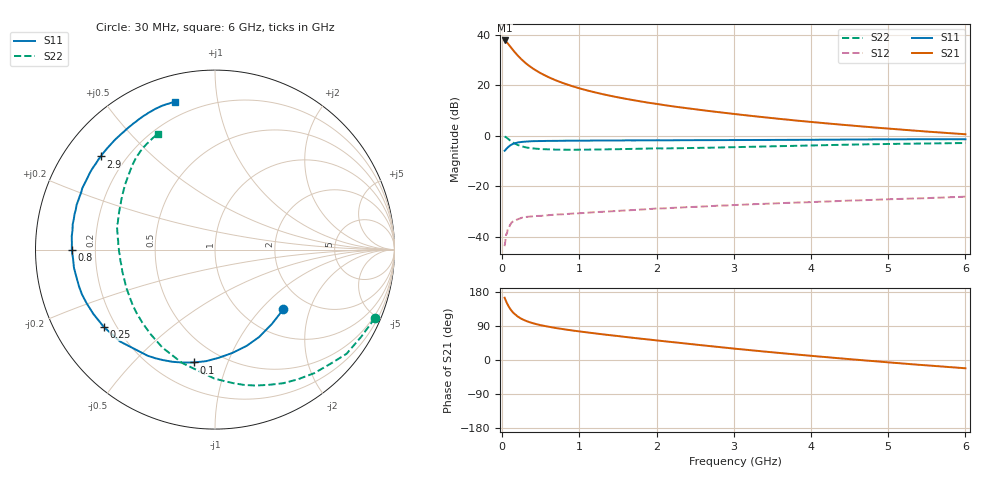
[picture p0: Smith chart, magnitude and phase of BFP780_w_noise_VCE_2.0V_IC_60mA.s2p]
! Infineon Technologies  Discrete & RF Semiconductors
! BFP780
! VCE =  2.0 V,  IC =  60 mA
! Common Emitter S-Parameters:  Jul 2015
# GHz  S  MA  R  50
!  f  S11  S21  S12  S22
! GHz  MAG  ANG  MAG  ANG  MAG  ANG  MAG  ANG
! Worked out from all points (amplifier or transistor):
!   75 points, 30 MHz to 6 GHz, reference 50 ohm
!   highest |S21| = 37.8 dB at 30 MHz (marker M1)
!   |S21| within 3 dB of that: start of sweep to 118.1 MHz
!   unconditionally stable (mu >= 1): 2.012 GHz to end of sweep
!   at 150 MHz: K = 0.13, MSG = 33.6 dB, |S12| = -33.7 dB
!   at 2.3 GHz: K = 1.09, MAG = 18.1 dB, |S12| = -28.5 dB
!   at 6 GHz: K = 1.38, MAG = 8.7 dB, |S12| = -24.1 dB
!   lowest NFmin = 1.52 dB at 450 MHz
!   S11 on the Smith chart (normalised r, x): 30 MHz: 1.51, -1.35; 100 MHz: 0.36, -0.76; 250 MHz: 0.15, -0.31; 800 MHz: 0.11, -0.00; 2.9 GHz: 0.11, +0.35; 6 GHz: 0.13, +0.76
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0.03  0.5056 -41.1  77.36 164.3  0.0065 73.0  0.9692 -23.2
0.05  0.5457 -63.3  73.05 154.4  0.0113 57.7  0.9349 -38.4
0.06  0.5649 -71.9  70.53 150.2  0.0114 66.1  0.9051 -44.6
0.08  0.6033 -88.1  65.02 142.3  0.0151 53.7  0.8581 -57.3
0.1  0.6397 -100.6  59.44 135.7  0.0172 49.6  0.8114 -68.2
0.12  0.6685 -110.8  54.3 130.0  0.0192 46.4  0.7706 -78.0
0.15  0.7003 -122.4  47.62 123.2  0.0207 39.4  0.7186 -90.3
0.2  0.7361 -135.9  38.84 114.7  0.0221 33.1  0.6572 -106.3
0.25  0.7546 -145.2  32.54 108.5  0.0237 29.2  0.6193 -118.3
0.3  0.7665 -152.1  27.76 103.8  0.0246 25.9  0.5914 -127.7
0.35  0.7752 -157.3  24.16 100.0  0.025 24.3  0.5734 -135.1
0.45  0.7848 -164.8  19.11 94.2  0.0258 22.2  0.5533 -145.9
0.6  0.7923 -172.6  14.47 87.8  0.0267 20.8  0.5377 -157.0
0.8  0.7977 -179.7  10.89 81.1  0.0279 20.8  0.5307 -166.7
1.1  0.801 172.3  7.905 72.8  0.0298 21.4  0.5311 -176.6
1.5  0.8069 164.1  5.77 63.2  0.0325 22.4  0.542 174.6
2.1  0.8143 153.6  4.05 49.5  0.0365 22.0  0.5614 164.7
2.9  0.8216 140.8  2.823 32.3  0.0416 21.2  0.5902 152.3
3.1  0.8237 137.8  2.603 28.2  0.043 20.7  0.5993 149.3
4.1  0.835 124.0  1.821 9.2  0.0493 17.4  0.6474 136.7
5.1  0.8518 113.0  1.352 -7.8  0.0558 13.4  0.691 126.0
6  0.8531 105.0  1.072 -21.8  0.0622 8.8  0.719 116.4
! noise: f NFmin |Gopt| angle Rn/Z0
0.45  1.52  0.42  178  0.07
0.9  1.57  0.46  -170  0.08
1.5  1.63  0.48  -162  0.08
1.8  1.8  0.49  -154  0.09
2.4  1.92  0.5  -147  0.13
3  2.2  0.51  -138  0.18
3.5  2.67  0.56  -122  0.29
